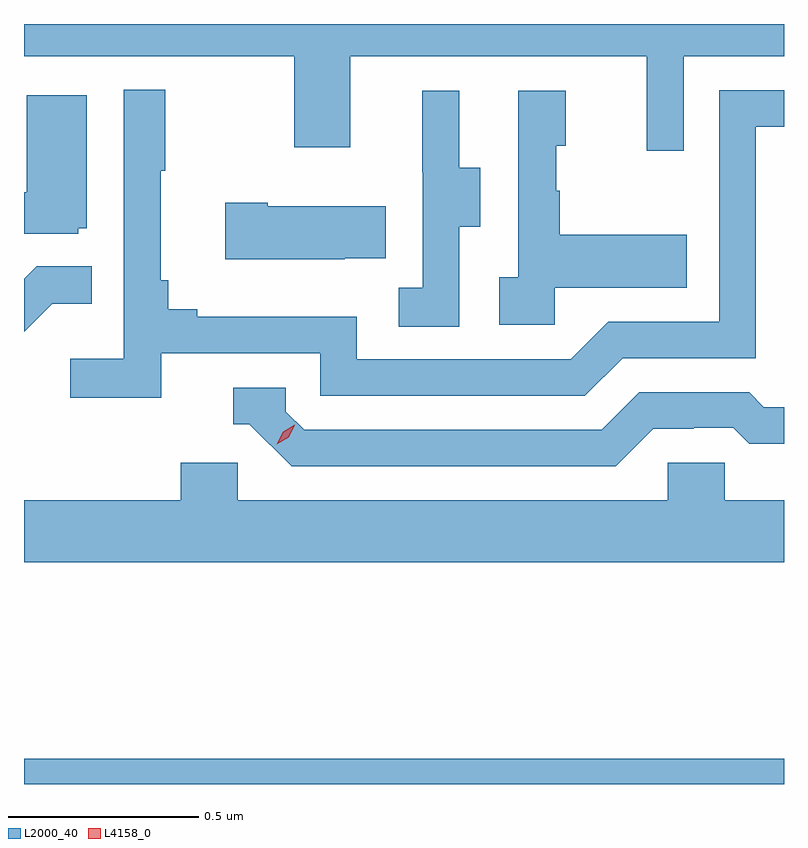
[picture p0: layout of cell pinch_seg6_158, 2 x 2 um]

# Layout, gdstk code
import gdstk
lib = gdstk.Library(unit=1e-6, precision=1e-09)
def R(c, l, rs):  # rectangles x0, y0, x1, y1
    for r in rs: c.add(gdstk.rectangle(r[:2], r[2:], *l))
def P(c, l, *ps):  # polygons
    for p in ps: c.add(gdstk.Polygon(p, *l))
L2000_40 = (2000, 40)
L4158_0 = (4158, 0)

pinch_seg6_158 = lib.new_cell('pinch_seg6_158')
R(pinch_seg6_158, L2000_40, [(996.949,924.109,998.949,924.176)])
P(pinch_seg6_158, L2000_40, [(998.685,926.024),(998.949,926.024),(998.949,926.109),(996.949,926.109),(996.949,926.024),(997.66,926.024),(997.66,925.785),(997.807,925.785),(997.807,926.024),(998.588,926.024),(998.588,925.776),(998.685,925.776)],
  [(997.31,925.242),(997.728,925.242),(997.728,925.131),(998.425,925.131),(998.524,925.23),(998.874,925.23),(998.874,925.839),(998.949,925.839),(998.949,925.935),(998.778,925.935),(998.778,925.326),(998.487,925.326),(998.388,925.227),(997.824,925.227),(997.824,925.339),(997.405,925.339),(997.405,925.358),(997.328,925.358),(997.328,925.435),(997.309,925.435),(997.309,925.723),(997.321,925.723),(997.321,925.936),(997.212,925.936),(997.212,925.228),(997.071,925.228),(997.071,925.126),(997.31,925.126)],
  [(998.094,925.576),(998.149,925.576),(998.149,925.731),(998.095,925.731),(998.095,925.933),(997.997,925.933),(997.997,925.719),(997.998,925.719),(997.998,925.415),(997.935,925.415),(997.935,925.312),(998.094,925.312)],
  [(998.346,925.415),(998.693,925.415),(998.693,925.555),(998.359,925.555),(998.359,925.67),(998.349,925.67),(998.349,925.788),(998.374,925.788),(998.374,925.933),(998.25,925.933),(998.25,925.442),(998.199,925.442),(998.199,925.317),(998.346,925.317)],
  [(997.092,925.572),(997.114,925.572),(997.114,925.921),(996.956,925.921),(996.956,925.666),(996.949,925.666),(996.949,925.557),(997.092,925.557)],
  [(997.793,925.493),(997.901,925.493),(997.901,925.63),(997.591,925.63),(997.591,925.638),(997.479,925.638),(997.479,925.49),(997.793,925.49)],
  [(997.023,925.373),(997.127,925.373),(997.127,925.472),(996.983,925.472),(996.949,925.438),(996.949,925.299)],
  [(998.605,925.044),(998.712,925.044),(998.712,925.047),(998.815,925.047),(998.857,925.005),(998.949,925.005),(998.949,925.101),(998.896,925.101),(998.857,925.14),(998.568,925.14),(998.469,925.041),(997.686,925.041),(997.638,925.089),(997.638,925.152),(997.499,925.152),(997.499,925.056),(997.542,925.056),(997.653,924.945),(998.506,924.945)],
  [(998.949,924.856),(998.793,924.856),(998.793,924.954),(998.643,924.954),(998.643,924.856),(997.512,924.856),(997.512,924.954),(997.361,924.954),(997.361,924.856),(996.949,924.856),(996.949,924.692),(998.949,924.692)])
P(pinch_seg6_158, L4158_0, [(997.614,925.003),(997.614,925.003),(997.631,925.036),(997.662,925.055),(997.662,925.055),(997.662,925.055),(997.646,925.022),(997.614,925.003)])

lib.write_gds('pinch_seg6_158.gds')
